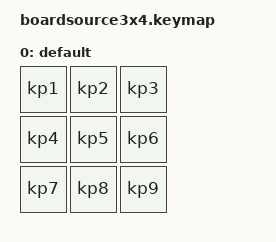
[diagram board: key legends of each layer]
// numpad.keymap
/ {
    keymap {
        compatible = "zmk,keymap";
        default {
            bindings = <
                &kp KP_N1  &kp KP_N2  &kp KP_N3
                &kp KP_N4  &kp KP_N5  &kp KP_N6
                &kp KP_N7  &kp KP_N8  &kp KP_N9
            >;
        };
    }
};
